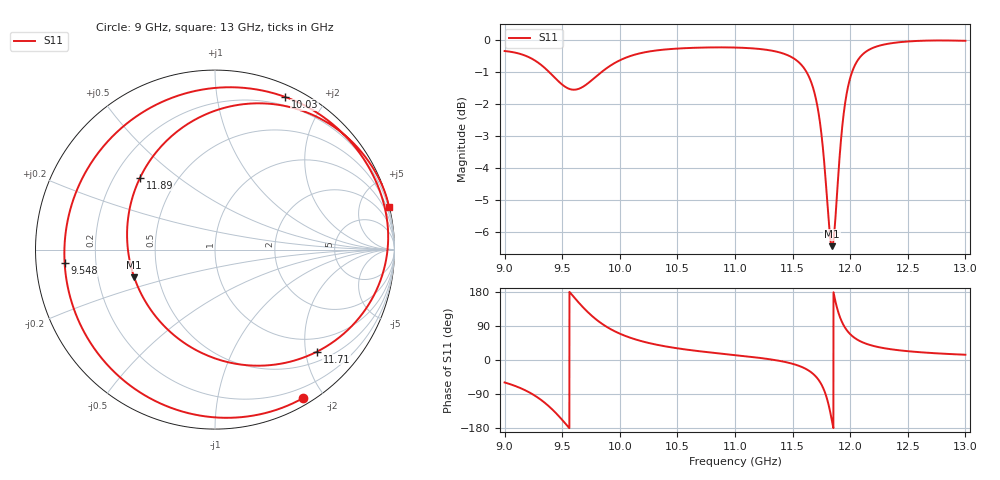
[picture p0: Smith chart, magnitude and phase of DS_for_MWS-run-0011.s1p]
! TOUCHSTONE file generated by CST DESIGN STUDIO
! Date and time: Tue Feb  4 12:43:48 2025
! Project name: C:\Work\MatlabApps\UnitCellOptimizationMatlab\CST\unitcell.cst
! Tree item: Tasks\Sweep1\SPara1\S-Parameters
! Header version: 2024
! Port assignment regex: !\s*Touchstone port\s*([0-9]+)\s*=\s*(CST MWS port|CST DES external port|CST DES block port)\s*(.+)\s* \(\"(.*)\"\)(\s*mode\s*([0-9]+))?.*
! Touchstone port assignment:
! Touchstone port 1 = CST DES external port 1 ("")
# GHz S MA R 50
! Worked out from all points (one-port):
!   4001 points, 9 GHz to 13 GHz, reference 50 ohm
!   lowest |S11| = -6.4 dB at 11.84 GHz (marker M1), VSWR 2.82, Z = 18.2 - j7.3 ohm
!   |S11| at or under -10 dB: nowhere
!   S11 on the Smith chart (normalised r, x): 9 GHz: 0.08, -1.76; 9.548 GHz: 0.09, -0.04; 10.03 GHz: 0.11, +1.55; 11.71 GHz: 0.69, -2.23; 11.89 GHz: 0.31, +0.37; 13 GHz: 0.06, +8.19
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9  0.962 -59.3
9.154  0.9497 -76.4
9.303  0.9192 -102.3
9.402  0.8861 -127.1
9.5  0.8522 -158.1
9.548  0.8411 -174.9
9.638  0.8387 153.3
9.757  0.866 116.6
9.862  0.8977 92.2
10  0.9303 69.5
10.033  0.9361 65.3
10.233  0.9588 46.2
10.5  0.9705 30.8
11  0.9741 12.9
11.5  0.9391 -10.0
11.624  0.8898 -25.0
11.706  0.8039 -45.0
11.784  0.613 -88.2
11.812  0.5239 -117.6
11.842  0.4759 -161.0
11.864  0.5049 165.4
11.887  0.5789 136.1
11.936  0.747 95.7
12  0.873 68.2
12.071  0.9336 52.1
12.166  0.967 40.1
12.5  0.9956 23.2
13  0.9981 13.9
